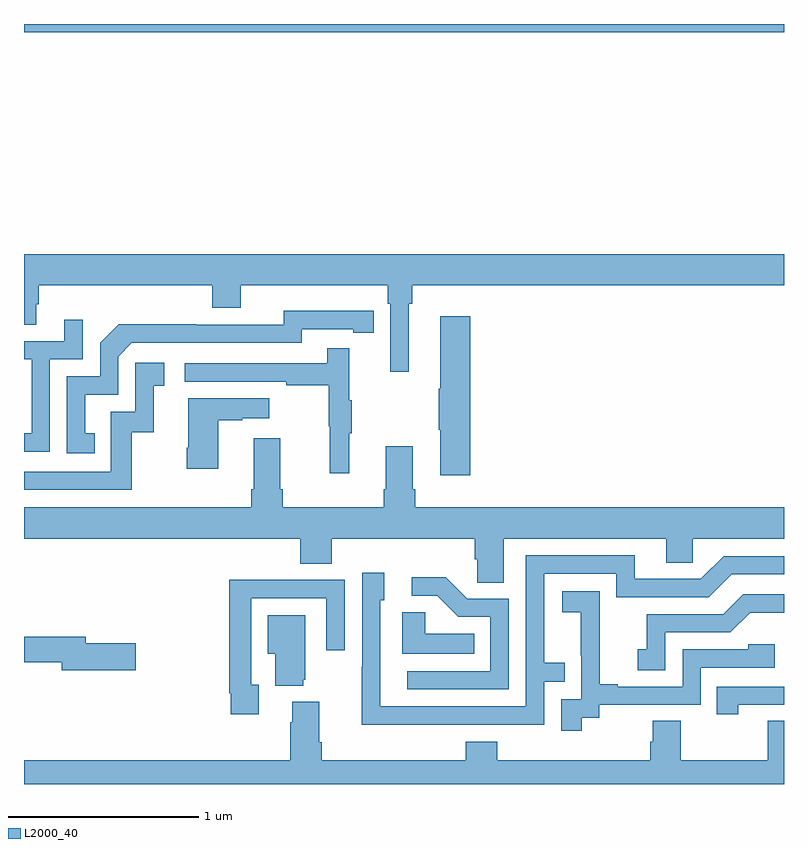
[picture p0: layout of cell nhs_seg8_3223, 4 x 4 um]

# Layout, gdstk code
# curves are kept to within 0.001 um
import gdstk
lib = gdstk.Library(unit=1e-6, precision=1e-09)
def R(c, l, rs):  # rectangles x0, y0, x1, y1
    for r in rs: c.add(gdstk.rectangle(r[:2], r[2:], *l))
def P(c, l, *ps):  # polygons
    for p in ps: c.add(gdstk.Polygon(p, *l))
L2000_40 = (2000, 40)

nhs_seg8_3223 = lib.new_cell('nhs_seg8_3223')
R(nhs_seg8_3223, L2000_40, [(311,1093.856,315,1093.9)])
P(nhs_seg8_3223, L2000_40, [(313.024,1092.428),(313.043,1092.428),(313.043,1092.524),(315,1092.524),(315,1092.688),(311,1092.688),(311,1092.316),(311.065,1092.316),(311.065,1092.426),(311.078,1092.426),(311.078,1092.524),(311.99,1092.524),(311.99,1092.407),(312.142,1092.407),(312.142,1092.524),(312.914,1092.524),(312.914,1092.428),(312.927,1092.428),(312.927,1092.069),(313.024,1092.069)],
  [(311.372,1091.745),(311.323,1091.745),(311.323,1091.949),(311.496,1091.949),(311.496,1092.15),(311.568,1092.222),(312.462,1092.222),(312.462,1092.294),(312.734,1092.294),(312.734,1092.274),(312.842,1092.274),(312.842,1092.39),(312.366,1092.391),(312.366,1092.318),(311.906,1092.318),(311.906,1092.32),(311.498,1092.32),(311.4,1092.222),(311.4,1092.045),(311.226,1092.045),(311.226,1091.64),(311.372,1091.64)],
  [(313.349,1092.361),(313.19,1092.361),(313.19,1091.981),(313.183,1091.981),(313.183,1091.764),(313.19,1091.764),(313.19,1091.526),(313.349,1091.526)],
  [(311.136,1092.135),(311.31,1092.135),(311.31,1092.343),(311.213,1092.343),(311.213,1092.231),(311,1092.231),(311,1092.135),(311.04,1092.135),(311.04,1091.746),(311,1091.746),(311,1091.649),(311.136,1091.649)],
  [(312.713,1091.747),(312.724,1091.747),(312.724,1091.921),(312.713,1091.921),(312.713,1092.193),(312.595,1092.193),(312.595,1092.114),(311.847,1092.114),(311.847,1092.018),(312.379,1092.018),(312.379,1091.998),(312.603,1091.998),(312.603,1091.784),(312.61,1091.784),(312.61,1091.535),(312.713,1091.535)],
  [(311.566,1091.751),(311.684,1091.751),(311.684,1091.997),(311.737,1091.997),(311.737,1092.118),(311.586,1092.118),(311.586,1091.859),(311.457,1091.859),(311.457,1091.544),(311,1091.544),(311,1091.448),(311.566,1091.448)],
  [(312.022,1091.815),(312.149,1091.815),(312.149,1091.825),(312.292,1091.825),(312.292,1091.929),(311.864,1091.929),(311.864,1091.671),(311.857,1091.671),(311.857,1091.559),(312.022,1091.559)],
  [(313.525,1091.192),(314.381,1091.192),(314.381,1091.065),(314.52,1091.065),(314.52,1091.192),(315,1091.192),(315,1091.356),(313.058,1091.356),(313.058,1091.452),(313.045,1091.452),(313.045,1091.677),(312.905,1091.677),(312.905,1091.452),(312.893,1091.452),(312.893,1091.356),(312.362,1091.356),(312.362,1091.452),(312.349,1091.452),(312.349,1091.719),(312.209,1091.719),(312.209,1091.452),(312.197,1091.452),(312.197,1091.356),(311,1091.356),(311,1091.192),(312.455,1091.192),(312.455,1091.059),(312.62,1091.059),(312.62,1091.192),(313.373,1091.192),(313.373,1091.083),(313.386,1091.083),(313.386,1090.96),(313.525,1090.96)],
  [(313.241,1090.212),(313.737,1090.212),(313.737,1090.437),(313.847,1090.437),(313.847,1090.538),(313.737,1090.538),(313.737,1091.007),(314.118,1091.007),(314.118,1090.884),(314.604,1090.884),(314.724,1091.004),(315,1091.004),(315,1091.1),(314.682,1091.1),(314.562,1090.98),(314.215,1090.98),(314.215,1091.103),(313.641,1091.103),(313.641,1090.308),(312.876,1090.308),(312.876,1090.866),(312.895,1090.866),(312.895,1091.011),(312.78,1091.011),(312.78,1090.517),(312.778,1090.517),(312.778,1090.211)],
  [(313.551,1090.875),(313.332,1090.875),(313.219,1090.988),(313.041,1090.988),(313.041,1090.89),(313.175,1090.89),(313.286,1090.779),(313.455,1090.779),(313.455,1090.494),(313.017,1090.494),(313.017,1090.398),(313.551,1090.398)],
  [(312.235,1090.422),(312.195,1090.422),(312.195,1090.878),(312.591,1090.878),(312.591,1090.605),(312.687,1090.605),(312.687,1090.974),(312.371,1090.974),(312.371,1090.976),(312.079,1090.976),(312.079,1090.378),(312.087,1090.378),(312.087,1090.266),(312.235,1090.266)],
  [(313.936,1090.249),(314.028,1090.249),(314.028,1090.317),(314.562,1090.317),(314.562,1090.512),(314.951,1090.512),(314.951,1090.635),(314.811,1090.635),(314.811,1090.608),(314.466,1090.608),(314.466,1090.413),(314.125,1090.413),(314.125,1090.426),(314.03,1090.426),(314.03,1090.709),(314.031,1090.709),(314.031,1090.915),(313.833,1090.915),(313.833,1090.805),(313.931,1090.805),(313.931,1090.577),(313.932,1090.577),(313.932,1090.347),(313.827,1090.347),(313.827,1090.179),(313.936,1090.179)],
  [(314.376,1090.698),(314.718,1090.698),(314.822,1090.802),(315,1090.802),(315,1090.899),(314.786,1090.899),(314.681,1090.794),(314.278,1090.794),(314.278,1090.609),(314.229,1090.609),(314.229,1090.5),(314.376,1090.5)],
  [(313.37,1090.69),(313.113,1090.69),(313.113,1090.805),(312.992,1090.805),(312.992,1090.586),(313.37,1090.586)],
  [(312.47,1090.449),(312.481,1090.449),(312.481,1090.789),(312.284,1090.789),(312.284,1090.586),(312.323,1090.586),(312.323,1090.418),(312.47,1090.418)],
  [(311.587,1090.64),(311.326,1090.64),(311.326,1090.676),(311,1090.676),(311,1090.54),(311.198,1090.54),(311.198,1090.498),(311.587,1090.498)],
  [(314.758,1090.317),(315,1090.317),(315,1090.413),(314.647,1090.413),(314.647,1090.266),(314.758,1090.266)],
  [(315,1090.232),(314.914,1090.232),(314.914,1090.024),(314.457,1090.024),(314.457,1090.232),(314.309,1090.232),(314.309,1090.122),(314.297,1090.122),(314.297,1090.024),(313.49,1090.024),(313.49,1090.123),(313.325,1090.123),(313.325,1090.024),(312.566,1090.024),(312.566,1090.12),(312.553,1090.12),(312.553,1090.333),(312.413,1090.333),(312.413,1090.226),(312.401,1090.226),(312.401,1090.024),(311,1090.024),(311,1089.9),(315,1089.9)])

lib.write_gds('nhs_seg8_3223.gds')
